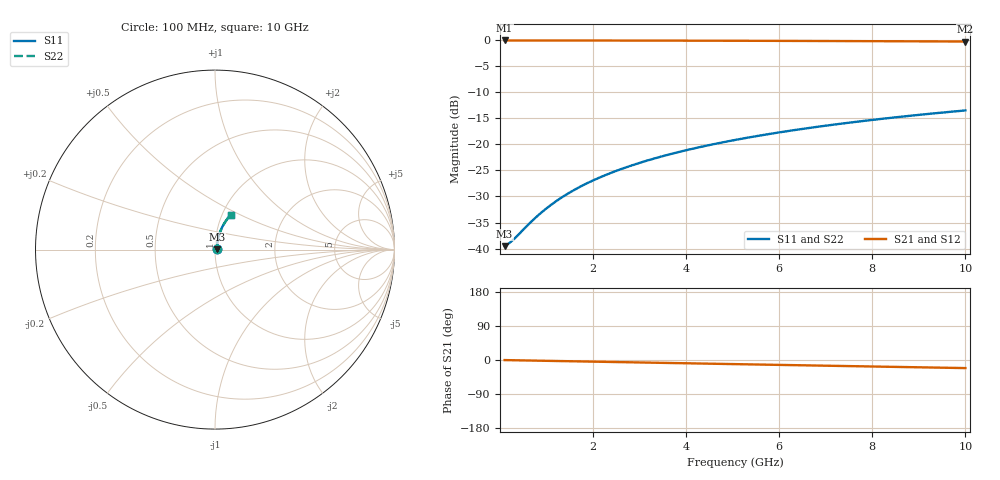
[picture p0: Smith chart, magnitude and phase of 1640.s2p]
# Hz S RI R 50.00
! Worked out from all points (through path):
!   100 points, 100 MHz to 10 GHz, reference 50 ohm
!   highest |S21| = -0.09 dB at 100 MHz (marker M1); lowest = -0.3 dB at 10 GHz (marker M2)
!   group delay of S21, straight-line fit = 5.93 ps
!   lowest |S11| = -39.5 dB at 100 MHz (marker M3), VSWR 1.02, Z = 51 + j0.22 ohm
!   |S11| at or under -10 dB: start of sweep to end of sweep
!   |S22| runs from -39.5 to -13.5 dB; largest |S21 - S12| = 0
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1e8  0.0103 0.00215  0.9897 -0.00374  0.9897 -0.00374  0.0103 0.00215
2e8  0.0104 0.0043  0.9896 -0.00747  0.9896 -0.00747  0.0104 0.0043
3e8  0.0105 0.00645  0.9895 -0.0112  0.9895 -0.0112  0.0105 0.00645
7e8  0.011 0.015  0.9889 -0.0261  0.9889 -0.0261  0.011 0.015
8e8  0.0111 0.0172  0.9888 -0.0299  0.9888 -0.0299  0.0111 0.0172
1e9  0.0115 0.0215  0.9884 -0.0373  0.9884 -0.0373  0.0115 0.0215
1.2e9  0.0119 0.0258  0.9879 -0.0448  0.9879 -0.0448  0.0119 0.0258
1.4e9  0.0123 0.03  0.9874 -0.0522  0.9874 -0.0522  0.0123 0.03
1.6e9  0.0128 0.0343  0.9868 -0.0597  0.9868 -0.0597  0.0128 0.0343
1.8e9  0.0134 0.0386  0.9862 -0.0671  0.9862 -0.0671  0.0134 0.0386
2.1e9  0.0144 0.0449  0.985 -0.0782  0.985 -0.0782  0.0144 0.0449
2.5e9  0.0159 0.0534  0.9832 -0.093  0.9832 -0.093  0.0159 0.0534
2.9e9  0.0177 0.0617  0.9812 -0.1077  0.9812 -0.1077  0.0177 0.0617
3.4e9  0.0203 0.0721  0.9782 -0.126  0.9782 -0.126  0.0203 0.0721
3.8e9  0.0226 0.0804  0.9755 -0.1406  0.9755 -0.1406  0.0226 0.0804
4.2e9  0.0252 0.0885  0.9725 -0.1551  0.9725 -0.1551  0.0252 0.0885
5.1e9  0.0319 0.1065  0.9648 -0.1874  0.9648 -0.1874  0.0319 0.1065
5.9e9  0.0387 0.122  0.9568 -0.2156  0.9568 -0.2156  0.0387 0.122
6.7e9  0.0465 0.137  0.9477 -0.2434  0.9477 -0.2434  0.0465 0.137
7.5e9  0.0551 0.1514  0.9376 -0.2706  0.9376 -0.2706  0.0551 0.1514
8.4e9  0.0658 0.167  0.9251 -0.3005  0.9251 -0.3005  0.0658 0.167
1e10  0.0869 0.1925  0.9001 -0.3516  0.9001 -0.3516  0.0869 0.1925
